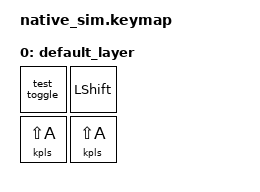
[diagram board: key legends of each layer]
#include <dt-bindings/zmk/keys.h>
#include <dt-bindings/zmk/layout_shift.h>
#include <behaviors.dtsi>
#include <dt-bindings/zmk/kscan_mock.h>
#include <layout_shift.dtsi>

&kscan {
    events = <
        ZMK_MOCK_PRESS(0,0,10)
        ZMK_MOCK_RELEASE(0,0,10)
        ZMK_MOCK_PRESS(0,1,10)
        ZMK_MOCK_PRESS(1,0,10)
        ZMK_MOCK_PRESS(1,1,10)
        ZMK_MOCK_RELEASE(1,0,10)
        ZMK_MOCK_RELEASE(1,1,10)
        ZMK_MOCK_RELEASE(0,1,10)
    >;
};

/ {
    test_map: test_map {
        compatible = "zmk,layout-shift-map";
        mappings = <
            LS(A) B (LAYOUT_SHIFT_OPTIONAL_CTRL | LAYOUT_SHIFT_OPTIONAL_ALT | LAYOUT_SHIFT_OPTIONAL_GUI)
        >;
    };

    behaviors {
        test_toggle: test_toggle {
            compatible = "zmk,behavior-layout-shift-toggle";
            #binding-cells = <0>;
            toggle-mode = "on";
            layout-maps = <&test_map>;
        };
    };

    keymap {
        compatible = "zmk,keymap";

        default_layer {
            bindings = <
                &test_toggle &kp LSHIFT
                &kpls LS(A) &kpls LS(A)
            >;
        };
    };
};
